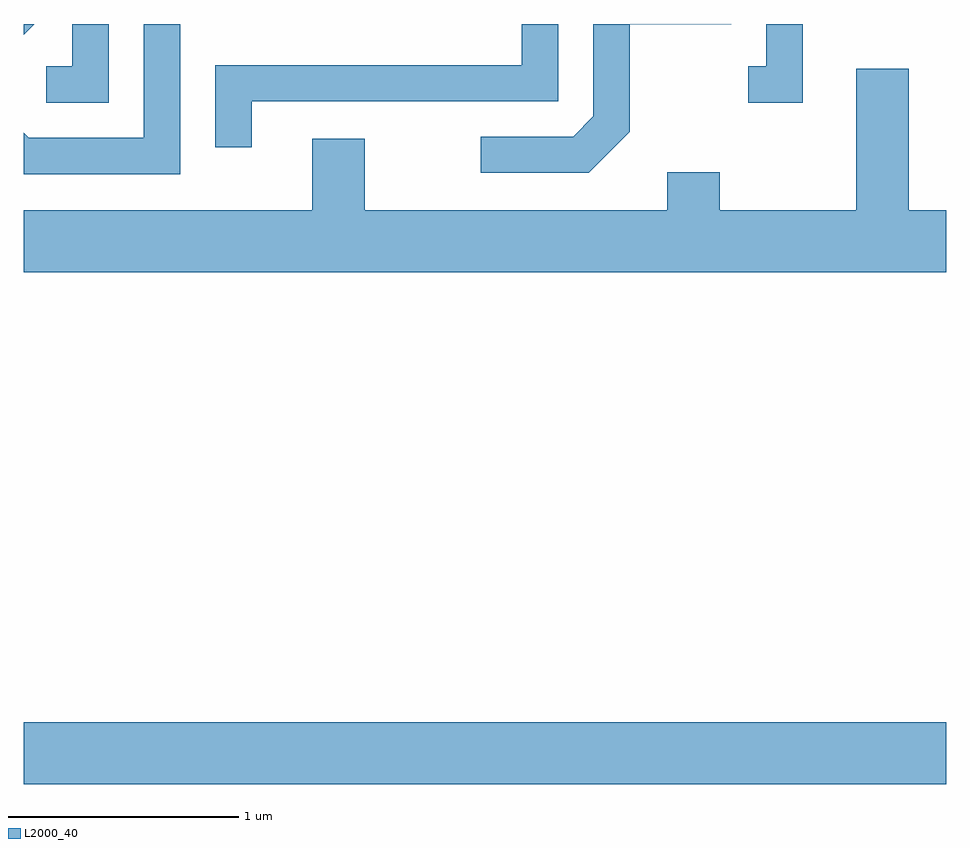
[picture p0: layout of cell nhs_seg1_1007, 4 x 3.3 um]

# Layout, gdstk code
import gdstk
lib = gdstk.Library(unit=1e-6, precision=1e-09)
def R(c, l, rs):  # rectangles x0, y0, x1, y1
    for r in rs: c.add(gdstk.rectangle(r[:2], r[2:], *l))
def P(c, l, *ps):  # polygons
    for p in ps: c.add(gdstk.Polygon(p, *l))
L2000_40 = (2000, 40)

nhs_seg1_1007 = lib.new_cell('nhs_seg1_1007')
R(nhs_seg1_1007, L2000_40, [(215.611,948.416,219.611,948.684)])
P(nhs_seg1_1007, L2000_40, [(216.289,951.712),(216.131,951.712),(216.131,951.219),(215.632,951.219),(215.611,951.24),(215.611,951.061),(216.289,951.061)],
  [(216.599,951.376),(217.929,951.376),(217.929,951.712),(217.771,951.712),(217.771,951.534),(216.441,951.534),(216.441,951.178),(216.599,951.178)],
  [(215.657,951.712),(215.611,951.712),(215.611,951.666)],
  [(218.989,951.712),(218.831,951.712),(218.831,951.529),(218.753,951.529),(218.753,951.371),(218.989,951.371)],
  [(215.979,951.712),(215.821,951.712),(215.821,951.529),(215.708,951.529),(215.708,951.371),(215.979,951.371)],
  [(218.239,951.244),(218.239,951.711),(218.679,951.711),(218.679,951.712),(218.081,951.712),(218.081,951.312),(217.994,951.224),(217.593,951.224),(217.593,951.066),(218.062,951.066)],
  [(219.611,950.904),(219.449,950.904),(219.449,951.519),(219.221,951.519),(219.221,950.904),(218.629,950.904),(218.629,951.069),(218.401,951.069),(218.401,950.904),(217.089,950.904),(217.089,951.214),(216.861,951.214),(216.861,950.904),(215.611,950.904),(215.611,950.636),(219.611,950.636)])

lib.write_gds('nhs_seg1_1007.gds')
